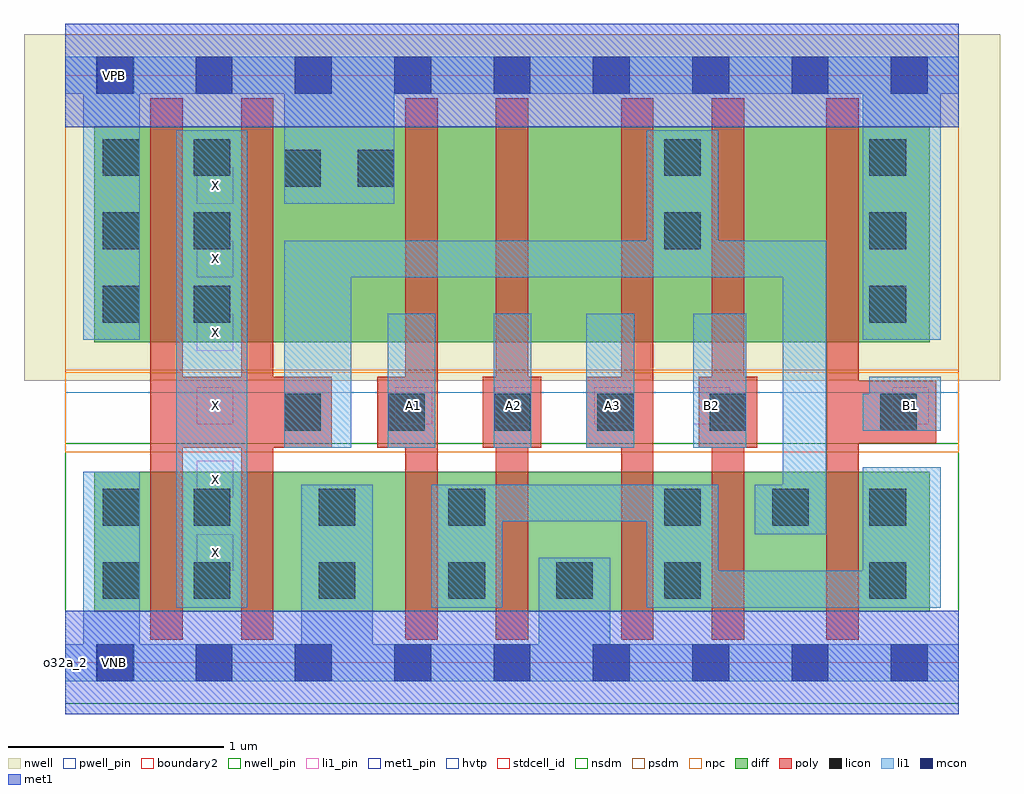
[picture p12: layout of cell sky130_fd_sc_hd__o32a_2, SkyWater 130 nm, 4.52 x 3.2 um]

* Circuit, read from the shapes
.subckt sky130_fd_sc_hd__o32a_2 A1 A2 A3 B1 B2 VGND VNB VPB VPWR X
XM1 X n1 VGND VNB sky130_fd_pr__nfet_01v8 w=0.65 l=0.15 m=2
XM2 n2 A1 VGND VNB sky130_fd_pr__nfet_01v8 w=0.65 l=0.15
XM3 VGND A2 n2 VNB sky130_fd_pr__nfet_01v8 w=0.65 l=0.15
XM4 n2 A3 VGND VNB sky130_fd_pr__nfet_01v8 w=0.65 l=0.15
XM5 n1 B2 n2 VNB sky130_fd_pr__nfet_01v8 w=0.65 l=0.15
XM6 n2 B1 n1 VNB sky130_fd_pr__nfet_01v8 w=0.65 l=0.15
XM7 X n1 VPWR VPB sky130_fd_pr__pfet_01v8_hvt w=1 l=0.15 m=2
XM8 n3 A1 VPWR VPB sky130_fd_pr__pfet_01v8_hvt w=1 l=0.15
XM9 n4 A2 n3 VPB sky130_fd_pr__pfet_01v8_hvt w=1 l=0.15
XM10 n1 A3 n4 VPB sky130_fd_pr__pfet_01v8_hvt w=1 l=0.15
XM11 n5 B2 n1 VPB sky130_fd_pr__pfet_01v8_hvt w=1 l=0.15
XM12 VPWR B1 n5 VPB sky130_fd_pr__pfet_01v8_hvt w=1 l=0.15
.ends

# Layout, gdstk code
import gdstk
lib = gdstk.Library(unit=1e-6, precision=1e-09)
def R(c, l, rs):  # rectangles x0, y0, x1, y1
    for r in rs: c.add(gdstk.rectangle(r[:2], r[2:], *l))
def A(c, l, x, y, w, h, nx, ny, dx, dy):  # array of equal rectangles
    R(c, l, [(x+i*dx, y+j*dy, x+i*dx+w, y+j*dy+h) for i in range(nx) for j in range(ny)])
def P(c, l, *ps):  # polygons
    for p in ps: c.add(gdstk.Polygon(p, *l))
nwell_pin = (64, 16)
nwell = (64, 20)
diff = (65, 20)
poly = (66, 20)
licon = (66, 44)
li1_pin = (67, 16)
li1 = (67, 20)
mcon = (67, 44)
met1_pin = (68, 16)
met1 = (68, 20)
hvtp = (78, 44)
stdcell_id = (81, 4)
nsdm = (93, 44)
psdm = (94, 20)
npc = (95, 20)
pwell_pin = (122, 16)
boundary2 = (236, 0)

sky130_fd_sc_hd__o32a_2 = lib.new_cell('sky130_fd_sc_hd__o32a_2')
R(sky130_fd_sc_hd__o32a_2, nwell_pin, [(0.15,2.635,0.32,2.805)])
R(sky130_fd_sc_hd__o32a_2, nwell, [(-0.19,1.305,4.33,2.91)])
R(sky130_fd_sc_hd__o32a_2, diff, [(0.135,0.235,4.005,0.885), (0.135,1.485,4.005,2.485)])
R(sky130_fd_sc_hd__o32a_2, poly, [(3.675,1.015,4.035,1.025), (3.675,1.295,4.035,1.305)])
P(sky130_fd_sc_hd__o32a_2, poly, [(1.235,1.325),(0.965,1.325),(0.965,2.615),(0.815,2.615),(0.815,1.325),(0.545,1.325),(0.545,2.615),(0.395,2.615),(0.395,0.105),(0.545,0.105),(0.545,0.995),(0.815,0.995),(0.815,0.105),(0.965,0.105),(0.965,0.995),(1.235,0.995)],
  [(2.205,1.325),(2.145,1.325),(2.145,2.615),(1.995,2.615),(1.995,1.325),(1.935,1.325),(1.935,0.995),(1.995,0.995),(1.995,0.105),(2.145,0.105),(2.145,0.995),(2.205,0.995)],
  [(2.725,2.615),(2.575,2.615),(2.575,1.325),(2.415,1.325),(2.415,0.995),(2.575,0.995),(2.575,0.105),(2.725,0.105)],
  [(1.725,2.615),(1.575,2.615),(1.575,1.325),(1.445,1.325),(1.445,0.995),(1.575,0.995),(1.575,0.105),(1.725,0.105)],
  [(3.205,1.325),(3.145,1.325),(3.145,2.615),(2.995,2.615),(2.995,1.325),(2.935,1.325),(2.935,0.995),(2.995,0.995),(2.995,0.105),(3.145,0.105),(3.145,0.995),(3.205,0.995)],
  [(4.035,1.295),(3.675,1.295),(3.675,2.615),(3.525,2.615),(3.525,0.105),(3.675,0.105),(3.675,1.025),(4.035,1.025)])
A(sky130_fd_sc_hd__o32a_2, licon, 1.775, 0.295, 0.17, 0.17, 3, 1, 0.5, 0)
A(sky130_fd_sc_hd__o32a_2, licon, 0.175, 1.575, 0.17, 0.17, 1, 3, 0, 0.34)
A(sky130_fd_sc_hd__o32a_2, licon, 0.595, 1.575, 0.17, 0.17, 1, 3, 0, 0.34)
A(sky130_fd_sc_hd__o32a_2, licon, 3.725, 1.575, 0.17, 0.17, 1, 3, 0, 0.34)
R(sky130_fd_sc_hd__o32a_2, licon, [(0.175,0.295,0.345,0.465), (0.595,0.295,0.765,0.465), (1.175,0.295,1.345,0.465), (3.725,0.295,3.895,0.465), (0.175,0.635,0.345,0.805), (0.595,0.635,0.765,0.805), (1.175,0.635,1.345,0.805), (1.775,0.635,1.945,0.805), (2.775,0.635,2.945,0.805), (3.275,0.635,3.445,0.805), (3.725,0.635,3.895,0.805), (1.015,1.075,1.185,1.245), (1.495,1.075,1.665,1.245), (1.985,1.075,2.155,1.245), (2.465,1.075,2.635,1.245), (2.985,1.075,3.155,1.245), (3.775,1.075,3.945,1.245), (2.775,1.915,2.945,2.085), (1.015,2.205,1.185,2.375), (1.355,2.205,1.525,2.375), (2.775,2.255,2.945,2.425)])
A(sky130_fd_sc_hd__o32a_2, li1_pin, 0.61, 0.425, 0.17, 0.17, 1, 6, 0, 0.34)
A(sky130_fd_sc_hd__o32a_2, li1_pin, 1.53, 1.105, 0.17, 0.17, 4, 1, 0.46, 0)
R(sky130_fd_sc_hd__o32a_2, li1_pin, [(3.83,1.105,4,1.275)])
R(sky130_fd_sc_hd__o32a_2, li1, [(0.515,0.255,0.845,2.465), (1.495,0.995,1.715,1.615), (1.985,0.995,2.16,1.615), (2.415,0.995,2.635,1.615), (2.91,0.995,3.155,1.615)])
P(sky130_fd_sc_hd__o32a_2, li1, [(3.525,1.955),(3.025,1.955),(3.025,2.465),(2.695,2.465),(2.695,1.955),(1.015,1.955),(1.015,0.995),(1.325,0.995),(1.325,1.785),(3.325,1.785),(3.325,0.825),(3.195,0.825),(3.195,0.595),(3.525,0.595)],
  [(4.055,1.325),(3.725,1.325),(3.725,1.245),(3.695,1.245),(3.695,1.075),(4.055,1.075)],
  [(4.055,0.905),(3.695,0.905),(3.695,0.425),(3.025,0.425),(3.025,0.825),(1.695,0.825),(1.695,0.255),(2.025,0.255),(2.025,0.655),(2.695,0.655),(2.695,0.255),(4.055,0.255)],
  [(4.14,0.085),(2.525,0.085),(2.525,0.485),(2.195,0.485),(2.195,0.085),(1.425,0.085),(1.425,0.825),(1.095,0.825),(1.095,0.085),(0.345,0.085),(0.345,0.885),(0.085,0.885),(0.085,0.085),(0,0.085),(0,-0.085),(4.14,-0.085)],
  [(4.14,2.805),(0,2.805),(0,2.635),(0.085,2.635),(0.085,1.495),(0.345,1.495),(0.345,2.635),(1.015,2.635),(1.015,2.125),(1.525,2.125),(1.525,2.635),(3.695,2.635),(3.695,1.495),(4.055,1.495),(4.055,2.635),(4.14,2.635)])
A(sky130_fd_sc_hd__o32a_2, mcon, 0.145, -0.085, 0.17, 0.17, 9, 2, 0.46, 2.72)
R(sky130_fd_sc_hd__o32a_2, met1_pin, [(0.15,-0.085,0.32,0.085), (0.15,2.635,0.32,2.805)])
R(sky130_fd_sc_hd__o32a_2, hvtp, [(0,1.25,4.14,2.72)])
R(sky130_fd_sc_hd__o32a_2, stdcell_id, [(0,0,4.14,2.72)])
R(sky130_fd_sc_hd__o32a_2, nsdm, [(0,-0.19,4.14,1.015)])
R(sky130_fd_sc_hd__o32a_2, psdm, [(0,1.355,4.14,2.91)])
R(sky130_fd_sc_hd__o32a_2, npc, [(0,0.975,4.14,1.345)])
R(sky130_fd_sc_hd__o32a_2, pwell_pin, [(0.15,-0.085,0.32,0.085)])
R(sky130_fd_sc_hd__o32a_2, boundary2, [(0,0,4.14,2.72)])
sky130_fd_sc_hd__o32a_2.add(gdstk.FlexPath([(0,2.72),(4.14,2.72)], 0.48, ends="flush", simple_path=True, layer=68, datatype=20))  # met1
sky130_fd_sc_hd__o32a_2.add(gdstk.FlexPath([(0,0),(4.14,0)], 0.48, ends="flush", simple_path=True, layer=68, datatype=20))  # met1
sky130_fd_sc_hd__o32a_2.add(gdstk.Label('B1', (3.915,1.19), layer=67, texttype=5))
sky130_fd_sc_hd__o32a_2.add(gdstk.Label('B2', (2.995,1.19), layer=67, texttype=5))
sky130_fd_sc_hd__o32a_2.add(gdstk.Label('A3', (2.535,1.19), layer=67, texttype=5))
sky130_fd_sc_hd__o32a_2.add(gdstk.Label('A2', (2.075,1.19), layer=67, texttype=5))
sky130_fd_sc_hd__o32a_2.add(gdstk.Label('A1', (1.615,1.19), layer=67, texttype=5))
sky130_fd_sc_hd__o32a_2.add(gdstk.Label('X', (0.695,0.51), layer=67, texttype=5))
sky130_fd_sc_hd__o32a_2.add(gdstk.Label('X', (0.695,0.85), layer=67, texttype=5))
sky130_fd_sc_hd__o32a_2.add(gdstk.Label('X', (0.695,1.19), layer=67, texttype=5))
sky130_fd_sc_hd__o32a_2.add(gdstk.Label('X', (0.695,1.53), layer=67, texttype=5))
sky130_fd_sc_hd__o32a_2.add(gdstk.Label('X', (0.695,1.87), layer=67, texttype=5))
sky130_fd_sc_hd__o32a_2.add(gdstk.Label('X', (0.695,2.21), layer=67, texttype=5))
sky130_fd_sc_hd__o32a_2.add(gdstk.Label('VNB', (0.23,0), layer=64, texttype=59))
sky130_fd_sc_hd__o32a_2.add(gdstk.Label('VPB', (0.23,2.72), layer=64, texttype=5))
sky130_fd_sc_hd__o32a_2.add(gdstk.Label('VGND', (0.23,0), layer=68, texttype=5))
sky130_fd_sc_hd__o32a_2.add(gdstk.Label('VPWR', (0.23,2.72), layer=68, texttype=5))
sky130_fd_sc_hd__o32a_2.add(gdstk.Label('o32a_2', (0,0), layer=83, texttype=44))

lib.write_gds('sky130_fd_sc_hd__o32a_2.gds')
